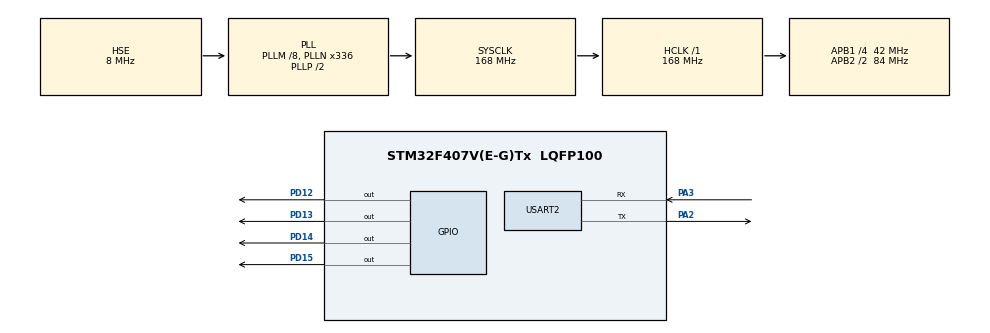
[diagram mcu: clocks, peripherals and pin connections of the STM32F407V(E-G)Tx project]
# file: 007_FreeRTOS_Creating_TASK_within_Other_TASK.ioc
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FREERTOS.Tasks01=defaultTask,24,128,StartDefaultTask,Default,NULL,Dynamic,NULL,NULL
Mcu.Family=STM32F4
Mcu.Name=STM32F407V(E-G)Tx
Mcu.Package=LQFP100
NVIC.PriorityGroup=NVIC_PRIORITYGROUP_4
NVIC.TIM8_TRG_COM_TIM14_IRQn=true\:15\:0\:false\:false\:true\:false\:false\:true\:true
NVIC.TimeBase=TIM8_TRG_COM_TIM14_IRQn
NVIC.TimeBaseIP=TIM14
NVIC.USART2_IRQn=true\:5\:0\:false\:false\:true\:true\:true\:true\:true
PA2.Mode=Asynchronous
PA2.Signal=USART2_TX
PA3.Mode=Asynchronous
PA3.Signal=USART2_RX
PD12.Signal=GPIO_Output
PD13.Signal=GPIO_Output
PD14.Signal=GPIO_Output
PD15.Signal=GPIO_Output
PH0-OSC_IN.Mode=HSE-External-Oscillator
PH0-OSC_IN.Signal=RCC_OSC_IN
PH1-OSC_OUT.Mode=HSE-External-Oscillator
PH1-OSC_OUT.Signal=RCC_OSC_OUT
ProjectManager.HeapSize=0x200
ProjectManager.StackSize=0x400
ProjectManager.TargetToolchain=STM32CubeIDE
RCC.48MHZClocksFreq_Value=48000000
RCC.AHBFreq_Value=168000000
RCC.APB1CLKDivider=RCC_HCLK_DIV4
RCC.APB1Freq_Value=42000000
RCC.APB1TimFreq_Value=84000000
RCC.APB2CLKDivider=RCC_HCLK_DIV2
RCC.APB2Freq_Value=84000000
RCC.APB2TimFreq_Value=168000000
RCC.CortexFreq_Value=168000000
RCC.HCLKFreq_Value=168000000
RCC.HSE_VALUE=8000000
RCC.HSI_VALUE=16000000
RCC.LSE_VALUE=32768
RCC.PLLM=8
RCC.PLLN=336
RCC.PLLQ=7
RCC.PLLSourceVirtual=RCC_PLLSOURCE_HSE
RCC.SYSCLKFreq_VALUE=168000000
RCC.SYSCLKSource=RCC_SYSCLKSOURCE_PLLCLK
RCC.VCOOutputFreq_Value=336000000
USART2.VirtualMode=VM_ASYNC
VP_FREERTOS_VS_CMSIS_V2.Mode=CMSIS_V2
VP_SYS_VS_tim14.Mode=TIM14
board=STM32F407G-DISC1

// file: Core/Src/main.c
/* USER CODE BEGIN Header */
/**
  ******************************************************************************
  * @file           : main.c
  * @brief          : Main program body
  ******************************************************************************
  * @attention
  *
  * Copyright (c) 2023 STMicroelectronics.
  * All rights reserved.
  *
  * This software is licensed under terms that can be found in the LICENSE file
  * in the root directory of this software component.
  * If no LICENSE file comes with this software, it is provided AS-IS.
  *
  ******************************************************************************
  */
/* USER CODE END Header */
#include "main.h"

/* USER CODE BEGIN Includes */
#include "FreeRTOS.h"
#include "task.h"
#include <string.h>
/* USER CODE END Includes */

UART_HandleTypeDef huart2;

/* Definitions for defaultTask */

void SystemClock_Config(void);
static void MX_GPIO_Init(void);
static void MX_USART2_UART_Init(void);

/* USER CODE BEGIN 0 */
void vTask2(void *pvParameters)
{
	const char *pcTaskName = "Task 2 is running\r\n";
	volatile uint32_t ul;

	while(1)
	{
		HAL_UART_Transmit(&huart2, (uint8_t *)pcTaskName, strlen(pcTaskName), HAL_MAX_DELAY);
		for(ul = 0; ul < 1000000; ul++);
	}
}
void vTask1(void *pvParameters)
{
	const char *pcTaskName = "Task 1 is running\r\n";
	volatile uint32_t ul;

	xTaskCreate(vTask2, "Task 2", 1000, NULL, 1, NULL);
	while(1)
	{
		HAL_UART_Transmit(&huart2, (uint8_t *)pcTaskName, strlen(pcTaskName), HAL_MAX_DELAY);
		for(ul = 0; ul < 1000000; ul++);
	}
}
/* USER CODE END 0 */

int main(void)
{

  /* MCU Configuration--------------------------------------------------------*/

  /* Reset of all peripherals, Initializes the Flash interface and the Systick. */
  HAL_Init();

  /* Configure the system clock */
  SystemClock_Config();

  /* Initialize all configured peripherals */
  MX_GPIO_Init();
  MX_USART2_UART_Init();
  /* USER CODE BEGIN 2 */
  xTaskCreate(vTask1, "Task 1", 1000, NULL, 1, NULL);

  vTaskStartScheduler();
  /* USER CODE END 2 */

  /* Init scheduler */

  /* Create the thread(s) */
  /* creation of defaultTask */

  /* Start scheduler */
  /* We should never get here as control is now taken by the scheduler */
  /* Infinite loop */
  while (1)
  {

  }
}

void SystemClock_Config(void)
{
  RCC_OscInitTypeDef RCC_OscInitStruct = {0};
  RCC_ClkInitTypeDef RCC_ClkInitStruct = {0};

  /** Configure the main internal regulator output voltage
  */
  __HAL_RCC_PWR_CLK_ENABLE();
  __HAL_PWR_VOLTAGESCALING_CONFIG(PWR_REGULATOR_VOLTAGE_SCALE1);

  /** Initializes the RCC Oscillators according to the specified parameters
  * in the RCC_OscInitTypeDef structure.
  */
  RCC_OscInitStruct.OscillatorType = RCC_OSCILLATORTYPE_HSE;
  RCC_OscInitStruct.HSEState = RCC_HSE_ON;
  RCC_OscInitStruct.PLL.PLLState = RCC_PLL_ON;
  RCC_OscInitStruct.PLL.PLLSource = RCC_PLLSOURCE_HSE;
  RCC_OscInitStruct.PLL.PLLM = 8;
  RCC_OscInitStruct.PLL.PLLN = 336;
  RCC_OscInitStruct.PLL.PLLP = RCC_PLLP_DIV2;
  RCC_OscInitStruct.PLL.PLLQ = 7;
  if (HAL_RCC_OscConfig(&RCC_OscInitStruct) != HAL_OK)
  {
    Error_Handler();
  }

  /** Initializes the CPU, AHB and APB buses clocks
  */
  RCC_ClkInitStruct.ClockType = RCC_CLOCKTYPE_HCLK|RCC_CLOCKTYPE_SYSCLK
                              |RCC_CLOCKTYPE_PCLK1|RCC_CLOCKTYPE_PCLK2;
  RCC_ClkInitStruct.SYSCLKSource = RCC_SYSCLKSOURCE_PLLCLK;
  RCC_ClkInitStruct.AHBCLKDivider = RCC_SYSCLK_DIV1;
  RCC_ClkInitStruct.APB1CLKDivider = RCC_HCLK_DIV4;
  RCC_ClkInitStruct.APB2CLKDivider = RCC_HCLK_DIV2;

  if (HAL_RCC_ClockConfig(&RCC_ClkInitStruct, FLASH_LATENCY_5) != HAL_OK)
  {
    Error_Handler();
  }
}

static void MX_USART2_UART_Init(void)
{

  huart2.Instance = USART2;
  huart2.Init.BaudRate = 115200;
  huart2.Init.WordLength = UART_WORDLENGTH_8B;
  huart2.Init.StopBits = UART_STOPBITS_1;
  huart2.Init.Parity = UART_PARITY_NONE;
  huart2.Init.Mode = UART_MODE_TX_RX;
  huart2.Init.HwFlowCtl = UART_HWCONTROL_NONE;
  huart2.Init.OverSampling = UART_OVERSAMPLING_16;
  if (HAL_UART_Init(&huart2) != HAL_OK)
  {
    Error_Handler();
  }

}

static void MX_GPIO_Init(void)
{
  GPIO_InitTypeDef GPIO_InitStruct = {0};

  /* GPIO Ports Clock Enable */
  __HAL_RCC_GPIOH_CLK_ENABLE();
  __HAL_RCC_GPIOA_CLK_ENABLE();
  __HAL_RCC_GPIOD_CLK_ENABLE();

  /*Configure GPIO pin Output Level */
  HAL_GPIO_WritePin(GPIOD, GPIO_PIN_12|GPIO_PIN_13|GPIO_PIN_14|GPIO_PIN_15, GPIO_PIN_RESET);

  /*Configure GPIO pins : PD12 PD13 PD14 PD15 */
  GPIO_InitStruct.Pin = GPIO_PIN_12|GPIO_PIN_13|GPIO_PIN_14|GPIO_PIN_15;
  GPIO_InitStruct.Mode = GPIO_MODE_OUTPUT_PP;
  GPIO_InitStruct.Pull = GPIO_NOPULL;
  GPIO_InitStruct.Speed = GPIO_SPEED_FREQ_LOW;
  HAL_GPIO_Init(GPIOD, &GPIO_InitStruct);

}

void HAL_TIM_PeriodElapsedCallback(TIM_HandleTypeDef *htim)
{
  if (htim->Instance == TIM14) {
    HAL_IncTick();
  }
}

void Error_Handler(void)
{
  __disable_irq();
  while (1)
  {
  }
}
